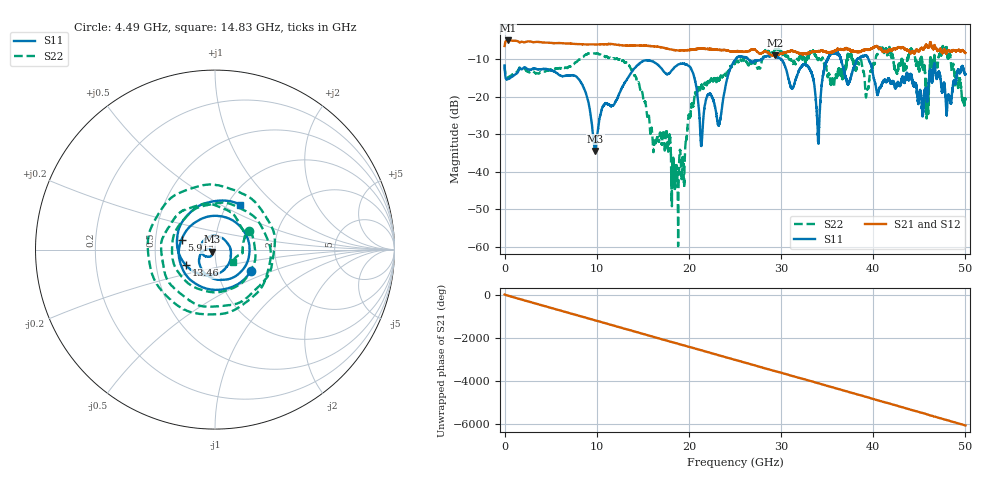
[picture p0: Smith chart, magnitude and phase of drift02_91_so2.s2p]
!Created with skrf (http://scikit-rf.org).
# Hz S RI R 50.0
!freq ReS11 ImS11 ReS21 ImS21 ReS12 ImS12 ReS22 ImS22
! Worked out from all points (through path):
!   10001 points, 300 kHz to 50 GHz, reference 50 ohm
!   highest |S21| = -5.04 dB at 375.3 MHz (marker M1); lowest = -9.0 dB at 29.37 GHz (marker M2)
!   group delay of S21, straight-line fit = 336 ps
!   lowest |S11| = -34.5 dB at 9.85 GHz (marker M3), VSWR 1.04, Z = 48.5 - j1.12 ohm
!   |S11| at or under -10 dB: start of sweep to 25.07 GHz; 29.98 GHz to 35.06 GHz (5.08 GHz wide, 15.6 % of centre); 39.48 GHz to end of sweep (the widest 3 of 7)
!   |S22| runs from -59.8 to -6.5 dB; largest |S21 - S12| = 0.023
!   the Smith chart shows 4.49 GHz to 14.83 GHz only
!   S11 on the Smith chart (normalised r, x): 4.49 GHz: 1.44, -0.37; 5.91 GHz: 0.68, +0.08; 13.46 GHz: 0.71, -0.13; 14.83 GHz: 1.14, +0.63
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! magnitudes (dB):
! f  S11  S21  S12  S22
! 300 kHz  -11.7  -6.5  -6.4  -11.6
! 375.3 MHz  -15.3  -5.0  -5.0  -14.9
! 4.49 GHz  -12.6  -5.6  -5.6  -13.2
! 5.91 GHz  -14.2  -5.7  -5.7  -12.4
! 8.335 GHz  -16.4  -6.0  -6.0  -9.6
! 9.85 GHz  -34.5  -6.1  -6.1  -8.5
! 13.46 GHz  -14.7  -6.4  -6.4  -11.6
! 14.83 GHz  -10.8  -6.4  -6.4  -18.4
! 16.67 GHz  -11.6  -6.7  -6.7  -31.5
! 18.66 GHz  -11.8  -7.7  -7.7  -39.1
! 20.38 GHz  -13.3  -7.5  -7.5  -21.7
! 21.37 GHz  -32.5  -7.2  -7.2  -16.9
! 23.31 GHz  -27.1  -7.6  -7.6  -15.5
! 25 GHz  -10.3  -7.9  -7.9  -11.2
! 29.37 GHz  -9.3  -9.0  -9.2  -7.3
! 33.34 GHz  -13.9  -8.1  -8.1  -8.1
! 34.02 GHz  -31.5  -7.9  -8.0  -10.3
! 35.54 GHz  -8.4  -8.1  -8.1  -15.2
! 41.67 GHz  -15.3  -7.6  -7.7  -7.3
! 45.86 GHz  -21.3  -6.7  -6.7  -19.5
! 47.76 GHz  -17.1  -7.5  -7.5  -7.6
! 50 GHz  -14.1  -8.4  -8.3  -19.9
